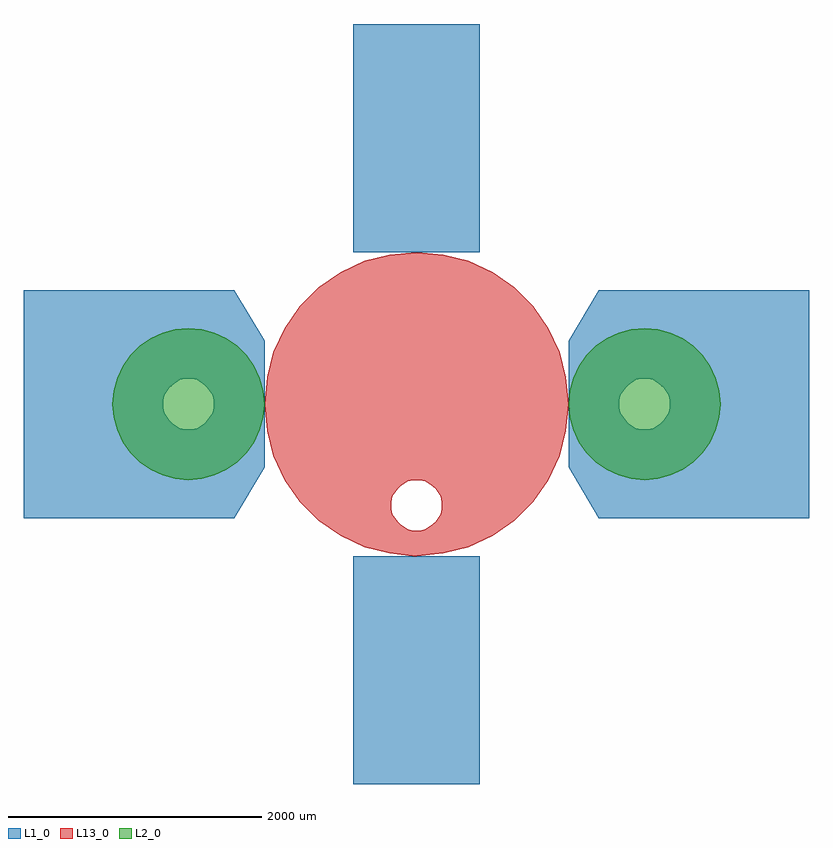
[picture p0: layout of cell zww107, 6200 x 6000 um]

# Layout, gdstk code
import gdstk
lib = gdstk.Library(unit=1e-6, precision=1e-09)
def R(c, l, rs):  # rectangles x0, y0, x1, y1
    for r in rs: c.add(gdstk.rectangle(r[:2], r[2:], *l))
def P(c, l, *ps):  # polygons
    for p in ps: c.add(gdstk.Polygon(p, *l))
L1_0 = (1, 0)
L2_0 = (2, 0)
L13_0 = (13, 0)

zww107 = lib.new_cell('zww107')
R(zww107, L1_0, [(-500,-3000,500,-1200), (-500,1200,500,3000)])
P(zww107, L1_0, [(1670,-150),(1650,-130),(1610,-70),(1600,-30),(1600,30),(1610,70),(1650,130),(1670,150),(1730,190),(1770,200),(1830,200),(1870,190),(1930,150),(1950,130),(1990,70),(2000,30),(2000,-30),(1990,-70),(1950,-130),(1930,-150),(1870,-190),(1830,-200),(1770,-200),(1770,-900),(3100,-900),(3100,900),(1440,900),(1200,500),(1200,-500),(1440,-900),(1770,-900),(1770,-200),(1730,-190)],
  [(-1930,-150),(-1950,-130),(-1990,-70),(-2000,-30),(-2000,30),(-1990,70),(-1950,130),(-1930,150),(-1870,190),(-1830,200),(-1770,200),(-1730,190),(-1670,150),(-1650,130),(-1610,70),(-1600,30),(-1600,-30),(-1610,-70),(-1650,-130),(-1670,-150),(-1730,-190),(-1770,-200),(-1800,-200),(-1800,-900),(-1440,-900),(-1200,-500),(-1200,500),(-1440,900),(-3100,900),(-3100,-900),(-1800,-900),(-1800,-200),(-1830,-200),(-1870,-190)])
P(zww107, L2_0, [(1200,0),(1209.115,104.189),(1236.184,205.212),(1280.385,300),(1340.373,385.673),(1414.327,459.627),(1500,519.615),(1594.788,563.816),(1695.811,590.885),(1800,600),(1904.189,590.885),(2005.212,563.816),(2100,519.615),(2185.673,459.627),(2259.627,385.673),(2319.615,300),(2363.816,205.212),(2390.885,104.189),(2400,0),(2390.885,-104.189),(2363.816,-205.212),(2319.615,-300),(2259.627,-385.673),(2185.673,-459.627),(2100,-519.615),(2005.212,-563.816),(1904.189,-590.885),(1800,-600),(1695.811,-590.885),(1594.788,-563.816),(1500,-519.615),(1414.327,-459.627),(1340.373,-385.673),(1280.385,-300),(1236.184,-205.212),(1209.115,-104.189)],
  [(-1200,0),(-1209.115,-104.189),(-1236.184,-205.212),(-1280.385,-300),(-1340.373,-385.673),(-1414.327,-459.627),(-1500,-519.615),(-1594.788,-563.816),(-1695.811,-590.885),(-1800,-600),(-1904.189,-590.885),(-2005.212,-563.816),(-2100,-519.615),(-2185.673,-459.627),(-2259.627,-385.673),(-2319.615,-300),(-2363.816,-205.212),(-2390.885,-104.189),(-2400,0),(-2390.885,104.189),(-2363.816,205.212),(-2319.615,300),(-2259.627,385.673),(-2185.673,459.627),(-2100,519.615),(-2005.212,563.816),(-1904.189,590.885),(-1800,600),(-1695.811,590.885),(-1594.788,563.816),(-1500,519.615),(-1414.327,459.627),(-1340.373,385.673),(-1280.385,300),(-1236.184,205.212),(-1209.115,104.189)])
P(zww107, L13_0, [(0,-1200),(210,-1180),(410,-1130),(600,-1040),(770,-920),(920,-770),(1040,-600),(1130,-410),(1180,-210),(1200,0),(1180,210),(1130,410),(1040,600),(920,770),(770,920),(600,1040),(410,1130),(210,1180),(0,1200),(-210,1180),(-410,1130),(-600,1040),(-770,920),(-920,770),(-1040,600),(-1130,410),(-1180,210),(-1200,0),(-1180,-210),(-1130,-410),(-1040,-600),(-920,-770),(-770,-920),(-600,-1040),(-410,-1130),(-210,-1180),(-30,-1200),(-30,-1000),(-70,-990),(-130,-950),(-150,-930),(-190,-870),(-200,-830),(-200,-770),(-190,-730),(-150,-670),(-130,-650),(-70,-610),(-30,-600),(30,-600),(70,-610),(130,-650),(150,-670),(190,-730),(200,-770),(200,-830),(190,-870),(150,-930),(130,-950),(70,-990),(30,-1000),(-30,-1000),(-30,-1200)])
zww107.add(gdstk.FlexPath([(-500,1200),(500,1200)], 0, ends="round", simple_path=True, layer=13, datatype=0))  # L13_0
zww107.add(gdstk.FlexPath([(500,-1200),(-500,-1200)], 0, ends="round", simple_path=True, layer=13, datatype=0))  # L13_0

lib.write_gds('zww107.gds')
